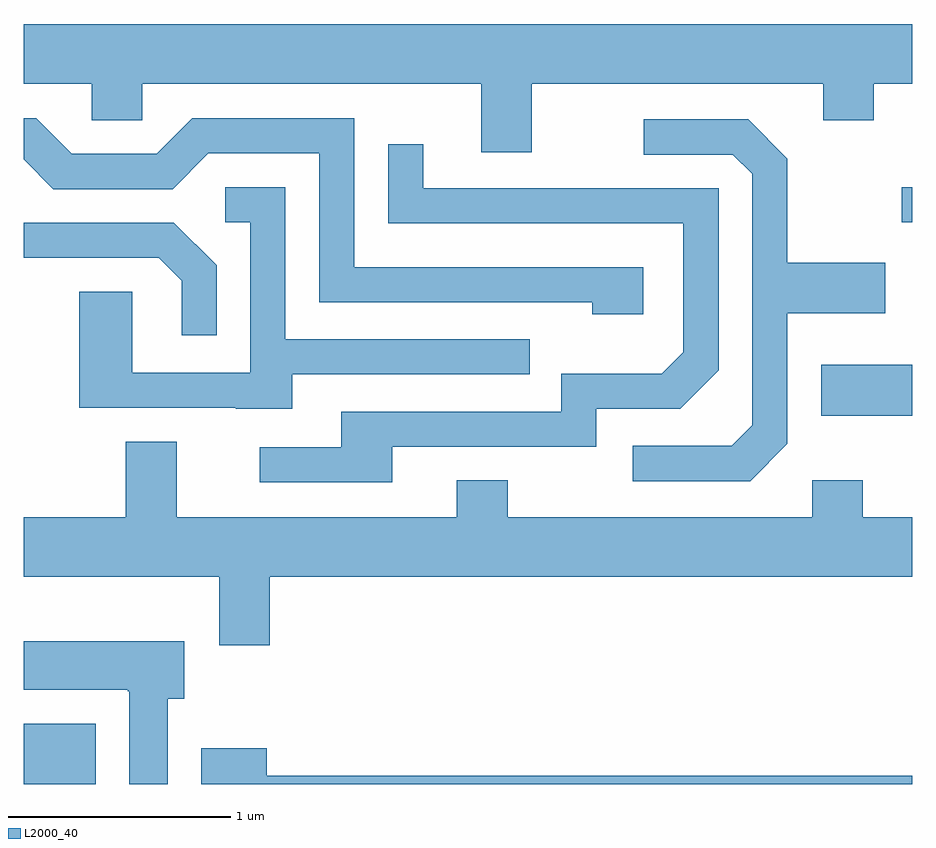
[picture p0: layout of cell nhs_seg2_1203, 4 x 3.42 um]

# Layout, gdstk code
import gdstk
lib = gdstk.Library(unit=1e-6, precision=1e-09)
def R(c, l, rs):  # rectangles x0, y0, x1, y1
    for r in rs: c.add(gdstk.rectangle(r[:2], r[2:], *l))
def P(c, l, *ps):  # polygons
    for p in ps: c.add(gdstk.Polygon(p, *l))
L2000_40 = (2000, 40)

nhs_seg2_1203 = lib.new_cell('nhs_seg2_1203')
R(nhs_seg2_1203, L2000_40, [(219.611,1071.802,219.934,1072.074), (223.201,1073.461,223.611,1073.689), (223.563,1074.331,223.611,1074.489)])
P(nhs_seg2_1203, L2000_40, [(221.899,1074.956),(223.211,1074.956),(223.211,1074.791),(223.439,1074.791),(223.439,1074.956),(223.611,1074.956),(223.611,1075.224),(219.611,1075.224),(219.611,1074.956),(219.916,1074.956),(219.916,1074.791),(220.144,1074.791),(220.144,1074.956),(221.671,1074.956),(221.671,1074.646),(221.899,1074.646)],
  [(222.399,1074.129),(221.099,1074.129),(221.099,1074.799),(220.369,1074.799),(220.209,1074.639),(219.827,1074.639),(219.667,1074.799),(219.611,1074.799),(219.611,1074.614),(219.744,1074.481),(220.282,1074.481),(220.442,1074.641),(220.941,1074.641),(220.941,1073.971),(222.171,1073.971),(222.171,1073.916),(222.399,1073.916)],
  [(223.049,1073.334),(223.049,1073.921),(223.489,1073.921),(223.489,1074.149),(223.049,1074.149),(223.049,1074.617),(222.872,1074.794),(222.403,1074.794),(222.403,1074.636),(222.804,1074.636),(222.891,1074.549),(222.891,1073.417),(222.799,1073.324),(222.353,1073.324),(222.353,1073.166),(222.882,1073.166)],
  [(221.269,1073.321),(222.189,1073.321),(222.189,1073.491),(222.567,1073.491),(222.739,1073.664),(222.739,1074.484),(221.409,1074.484),(221.409,1074.683),(221.251,1074.683),(221.251,1074.326),(222.581,1074.326),(222.581,1073.747),(222.484,1073.649),(222.031,1073.649),(222.031,1073.479),(221.041,1073.479),(221.041,1073.319),(220.673,1073.319),(220.673,1073.161),(221.269,1073.161)],
  [(220.819,1073.646),(221.888,1073.646),(221.888,1073.804),(220.789,1073.804),(220.789,1074.489),(220.518,1074.489),(220.518,1074.331),(220.631,1074.331),(220.631,1073.654),(220.099,1073.654),(220.099,1074.019),(219.861,1074.019),(219.861,1073.496),(220.565,1073.496),(220.565,1073.491),(220.819,1073.491)],
  [(220.479,1074.137),(220.287,1074.329),(219.611,1074.329),(219.611,1074.171),(220.219,1074.171),(220.321,1074.069),(220.321,1073.823),(220.479,1073.823)],
  [(220.719,1072.736),(223.611,1072.736),(223.611,1073.004),(223.389,1073.004),(223.389,1073.169),(223.161,1073.169),(223.161,1073.004),(221.789,1073.004),(221.789,1073.169),(221.561,1073.169),(221.561,1073.004),(220.299,1073.004),(220.299,1073.344),(220.071,1073.344),(220.071,1073.004),(219.611,1073.004),(219.611,1072.736),(220.491,1072.736),(220.491,1072.426),(220.719,1072.426)],
  [(220.259,1072.186),(220.334,1072.186),(220.334,1072.444),(219.611,1072.444),(219.611,1072.226),(220.08,1072.226),(220.08,1072.22),(220.086,1072.22),(220.086,1071.802),(220.259,1071.802)],
  [(223.611,1071.839),(220.704,1071.839),(220.704,1071.964),(220.411,1071.964),(220.411,1071.802),(223.611,1071.802)])

lib.write_gds('nhs_seg2_1203.gds')
